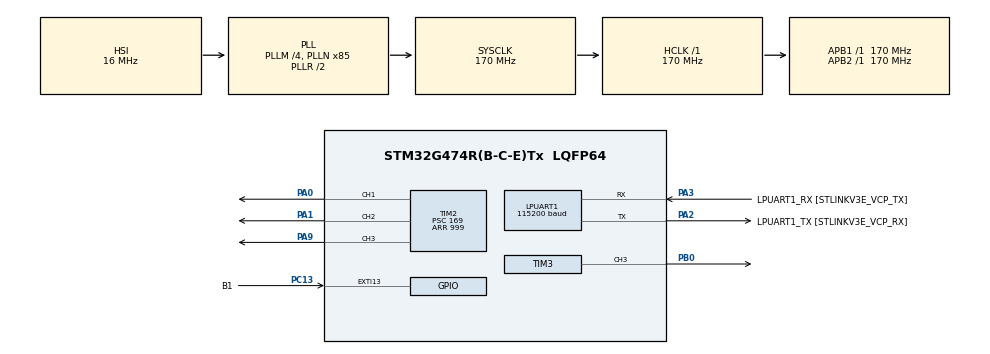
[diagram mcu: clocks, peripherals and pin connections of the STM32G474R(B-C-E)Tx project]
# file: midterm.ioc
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LPUART1.BaudRate=115200
Mcu.Family=STM32G4
Mcu.Name=STM32G474R(B-C-E)Tx
Mcu.Package=LQFP64
NVIC.EXTI15_10_IRQn=true\:1\:0\:true\:false\:true\:true\:true\:true
NVIC.LPUART1_IRQn=true\:0\:0\:false\:false\:true\:true\:true\:true
NVIC.PriorityGroup=NVIC_PRIORITYGROUP_4
PA0.Signal=S_TIM2_CH1
PA1.Signal=S_TIM2_CH2
PA13.GPIO_Label=T_SWDIO
PA13.Signal=SYS_JTMS-SWDIO
PA14.GPIO_Label=T_SWCLK
PA14.Signal=SYS_JTCK-SWCLK
PA2.GPIO_Label=LPUART1_TX [STLINKV3E_VCP_RX]
PA2.Mode=Asynchronous
PA2.Signal=LPUART1_TX
PA3.GPIO_Label=LPUART1_RX [STLINKV3E_VCP_TX]
PA3.Mode=Asynchronous
PA3.Signal=LPUART1_RX
PA9.Signal=S_TIM2_CH3
PB0.Signal=S_TIM3_CH3
PB3.GPIO_Label=T_SWO
PB3.Signal=SYS_JTDO-SWO
PC13.GPIO_Label=B1
PC13.Signal=GPXTI13
PC14-OSC32_IN.GPIO_Label=RCC_OSC32_IN
PC14-OSC32_IN.Signal=RCC_OSC32_IN
PC15-OSC32_OUT.GPIO_Label=RCC_OSC32_OUT
PC15-OSC32_OUT.Signal=RCC_OSC32_OUT
PF0-OSC_IN.GPIO_Label=RCC_OSC_IN
PF0-OSC_IN.Mode=HSE-External-Oscillator
PF0-OSC_IN.Signal=RCC_OSC_IN
PF1-OSC_OUT.GPIO_Label=RCC_OSC_OUT
PF1-OSC_OUT.Mode=HSE-External-Oscillator
PF1-OSC_OUT.Signal=RCC_OSC_OUT
ProjectManager.HeapSize=0x200
ProjectManager.StackSize=0x400
ProjectManager.TargetToolchain=STM32CubeIDE
RCC.ADC12Freq_Value=170000000
RCC.ADC345Freq_Value=170000000
RCC.AHBFreq_Value=170000000
RCC.APB1Freq_Value=170000000
RCC.APB1TimFreq_Value=170000000
RCC.APB2Freq_Value=170000000
RCC.APB2TimFreq_Value=170000000
RCC.CortexFreq_Value=170000000
RCC.EXTERNAL_CLOCK_VALUE=12288000
RCC.HCLKFreq_Value=170000000
RCC.HSE_VALUE=24000000
RCC.HSI48_VALUE=48000000
RCC.HSI_VALUE=16000000
RCC.LSE_VALUE=32768
RCC.PLLM=RCC_PLLM_DIV4
RCC.PLLN=85
RCC.RTCClockSelection=RCC_RTCCLKSOURCE_LSE
RCC.SYSCLKFreq_VALUE=170000000
RCC.SYSCLKSource=RCC_SYSCLKSOURCE_PLLCLK
RCC.USBFreq_Value=170000000
RCC.VCOOutputFreq_Value=340000000
SH.S_TIM2_CH1.0=TIM2_CH1,PWM Generation1 CH1
SH.S_TIM2_CH2.0=TIM2_CH2,PWM Generation2 CH2
SH.S_TIM2_CH3.0=TIM2_CH3,PWM Generation3 CH3
SH.S_TIM3_CH3.0=TIM3_CH3,PWM Generation3 CH3
TIM2.Channel-PWM\ Generation1\ CH1=TIM_CHANNEL_1
TIM2.Channel-PWM\ Generation2\ CH2=TIM_CHANNEL_2
TIM2.Channel-PWM\ Generation3\ CH3=TIM_CHANNEL_3
TIM2.PeriodNoDither=999
TIM2.Prescaler=169
TIM3.Channel-PWM\ Generation3\ CH3=TIM_CHANNEL_3
TIM3.PeriodNoDither=1136
TIM3.Prescaler=169
VP_SYS_VS_DBSignals.Mode=DisableDeadBatterySignals
board=NUCLEO-G474RE

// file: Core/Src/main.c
/* USER CODE BEGIN Header */
/**
  ******************************************************************************
  * @file           : main.c
  * @brief          : NUCLEO-G474RE 雙模式互動燈光與節拍系統
  *                   Mode 0: 節拍教練 (Rhythm Coach)
  *                   Mode 1: Python 音訊派對燈 (Audio-Reactive LED)
  * Copyright (c) 2026 STMicroelectronics.
  * All rights reserved.
  ******************************************************************************
  */
/* USER CODE END Header */

#include "main.h"                                  /* 包含 CubeMX 生成的主標頭檔 */

/* USER CODE BEGIN Includes */
#include <stdio.h>                                 /* 包含標準輸入輸出庫，用於 sprintf 格式化字串 */
#include <stdlib.h>                                /* 包含標準工具庫，用於 atoi 字串轉整數 */
#include <string.h>                                /* 包含字串處理庫，用於 strcmp, strncmp, strlen */
/* USER CODE END Includes */

UART_HandleTypeDef hlpuart1;                      /* LPUART1 串口控制代碼 */

TIM_HandleTypeDef htim2;                          /* TIM2 定時器控制代碼 (三色 LED PWM) */
TIM_HandleTypeDef htim3;                          /* TIM3 定時器控制代碼 (無源蜂鳴器 PWM) */

/* USER CODE BEGIN PV */
/* ================= 系統模式與參數變數 ================= */
uint8_t current_mode = 0;                         /* 當前系統模式：0 = 節拍器模式, 1 = Python 音訊派對燈 */
uint32_t current_bpm = 120;                       /* Mode 0 預設節拍速度 (BPM) */
uint8_t is_muted = 0;                             /* 蜂鳴器靜音狀態開關：0 = 正常發聲, 1 = 靜音 */

/* ================= PC13 按鈕長按檢測變數 ================= */
uint32_t button_press_start = 0;                  /* 紀錄按鈕按下的起始時間戳記 (ms) */
uint8_t button_is_pressed = 0;                    /* 按鈕狀態旗標：0 = 未按下, 1 = 按下計時中, 2 = 已觸發切換 */

/* ================= Mode 0 節拍與時間控制變數 ================= */
uint32_t last_beat_tick = 0;                      /* 上一次觸發節拍的時間點 (ms) */
uint32_t red_led_fade_start = 0;                  /* LED 漸暗效果的起始時間點 (ms) */

/* ================= LPUART1 通訊與指令解析變數 ================= */
uint8_t uart_rx_byte;                             /* UART 單一位元組中斷接收暫存器 */
char uart_rx_buffer[32];                          /* 接收指令的字串緩衝區 */
uint8_t uart_rx_index = 0;                        /* 字串緩衝區寫入索引指標 */
uint16_t py_audio_val = 0;                        /* Mode 1 解析來自 Python 的音量強弱數值 (0 ~ 999) */
/* USER CODE END PV */

void SystemClock_Config(void);                    /* 系統時脈設定函式原型 */
static void MX_GPIO_Init(void);                   /* GPIO 初始化函式原型 */
static void MX_LPUART1_UART_Init(void);            /* LPUART1 通訊初始化函式原型 */
static void MX_TIM2_Init(void);                   /* TIM2 PWM 初始化函式原型 */
static void MX_TIM3_Init(void);                   /* TIM3 PWM 初始化函式原型 */
/* USER CODE BEGIN PFP */
void Process_Button_Check(uint32_t current_tick);  /* PC13 長按 3 秒非阻塞檢測函式 */
/* USER CODE END PFP */

/* USER CODE BEGIN 0 */

/**
  * @brief  LPUART1 接收中斷回調函數：非阻塞式接收電腦端傳入指令
  * @param  huart: UART 控制代碼指標
  * @retval None
  */
void HAL_UART_RxCpltCallback(UART_HandleTypeDef *huart) {
    if (huart->Instance == LPUART1) {             /* 確認觸發中斷的是 LPUART1 */
        /* 若接收到換行符號 ('\n') 或回車符號 ('\r')，代表一串指令結束 */
        if (uart_rx_byte == '\n' || uart_rx_byte == '\r') {
            uart_rx_buffer[uart_rx_index] = '\0';  /* 為接收到的字串加上結束符號 */
            if (uart_rx_index > 0) {
                /* 指令 1：查詢當前系統狀態 "st" */
                if (strcmp(uart_rx_buffer, "st") == 0) {
                    char msg[64];
                    int len = sprintf(msg, "Mode:%d, BPM:%lu, Mute:%d\r\n", current_mode, current_bpm, is_muted);
                    HAL_UART_Transmit_IT(&hlpuart1, (uint8_t*)msg, len); /* 非阻塞傳送狀態 */
                }
                /* 指令 2：切換靜音狀態 "mute" */
                else if (strcmp(uart_rx_buffer, "mute") == 0) {
                    is_muted = !is_muted;         /* 切換靜音旗標 */
                    char *msg = is_muted ? "Buzzer Muted\r\n" : "Buzzer Unmuted\r\n";
                    HAL_UART_Transmit_IT(&hlpuart1, (uint8_t*)msg, strlen(msg));
                }
                /* 指令 3：動態調整 BPM 節拍速度 (例如 "bpm 140") */
                else if (strncmp(uart_rx_buffer, "bpm ", 4) == 0) {
                    uint32_t new_bpm = atoi(&uart_rx_buffer[4]); /* 解析 bpm 後方數字 */
                    if (new_bpm >= 30 && new_bpm <= 300) {      /* 限制合法 BPM 範圍 */
                        current_bpm = new_bpm;    /* 更新當前 BPM */
                        char msg[32];
                        int len = sprintf(msg, "BPM updated to %lu\r\n", current_bpm);
                        HAL_UART_Transmit_IT(&hlpuart1, (uint8_t*)msg, len);
                    }
                }
                /* 指令 4：Mode 1 下解析 Python 傳送之音量數值 (0 ~ 999) */
                else if (current_mode == 1) {
                    int val = atoi(uart_rx_buffer);
                    if (val >= 0 && val <= 999) {
                        py_audio_val = (uint16_t)val;            /* 更新音量動態數值 */
                    }
                }
            }
            uart_rx_index = 0;                    /* 重置緩衝區寫入索引，準備下一條指令 */
        } else {
            /* 累積接收字元至緩衝區，防範邊界溢位 */
            if (uart_rx_index < sizeof(uart_rx_buffer) - 1) {
                uart_rx_buffer[uart_rx_index++] = uart_rx_byte;
            }
        }
        /* 重新啟用 UART 接收中斷，持續進行非阻塞監聽 */
        HAL_UART_Receive_IT(&hlpuart1, &uart_rx_byte, 1);
    }
}

/**
  * @brief  PC13 藍色按鈕長按 3 秒判定函式 (非阻塞時間差檢測)
  * @param  current_tick: 當前系統滴答時間 (ms)
  * @retval None
  */
void Process_Button_Check(uint32_t current_tick) {
    /* NUCLEO-G474RE 板載 B1 按鈕預設為下拉 (Pull-down)，按下時輸出高準位 (HIGH) */
    GPIO_PinState pin_state = HAL_GPIO_ReadPin(GPIOC, GPIO_PIN_13);

    if (pin_state == GPIO_PIN_SET) {               /* 檢測到按鈕處於按下狀態 */
        if (button_is_pressed == 0) {
            button_press_start = current_tick;     /* 紀錄剛按下時的時間點 */
            button_is_pressed = 1;                 /* 標記按鈕開始進入按下狀態 */
        } else if (button_is_pressed == 1) {
            /* 若持續按下時間達到或超過 3000 毫秒 (3秒) */
            if (current_tick - button_press_start >= 3000) {
                current_mode = !current_mode;      /* 切換系統模式 (Mode 0 ↔ Mode 1) */

                /* 模式切換時強制關閉蜂鳴器 PWM 輸出，確保零雜音 */
                __HAL_TIM_SET_COMPARE(&htim3, TIM_CHANNEL_3, 0);

                /* 發送模式切換成功通知至電腦 */
                char msg[40];
                int len = sprintf(msg, "\r\n[Switch Mode] Current Mode: %d\r\n", current_mode);
                HAL_UART_Transmit(&hlpuart1, (uint8_t*)msg, len,100);

                button_is_pressed = 2;             /* 設為 2，防止持續長按時重複觸發切換 */
            }
        }
    } else {
        button_is_pressed = 0;                     /* 按鈕放開，重置長按判定旗標 */
    }
}

/* USER CODE END 0 */

/**
  * @brief  主程式進入點 (The application entry point)
  * @retval int
  */
int main(void)
{

  /* MCU Configuration--------------------------------------------------------*/

  /* 重置所有週邊，初始化 Flash 介面與 SysTick 滴答定時器 */
  HAL_Init();

  /* 設定系統時脈 (高頻 170MHz 運作) */
  SystemClock_Config();

  /* 初始化所有已配置的硬體週邊 */
  MX_GPIO_Init();
  MX_LPUART1_UART_Init();
  MX_TIM2_Init();
  MX_TIM3_Init();

  /* USER CODE BEGIN 2 */
  /* 啟動 TIM2 三通道 PWM 輸出 (PA0:紅燈, PA1:黃燈, PA9:綠燈) */
  HAL_TIM_PWM_Start(&htim2, TIM_CHANNEL_1);       /* 啟動 CH1 PWM */
  HAL_TIM_PWM_Start(&htim2, TIM_CHANNEL_2);       /* 啟動 CH2 PWM */
  HAL_TIM_PWM_Start(&htim2, TIM_CHANNEL_3);       /* 啟動 CH3 PWM */

  /* 啟動 TIM3 單通道 PWM 輸出 (PB0:無源蜂鳴器) */
  HAL_TIM_PWM_Start(&htim3, TIM_CHANNEL_3);       /* 啟動 TIM3_CH3 PWM */
  __HAL_TIM_SET_COMPARE(&htim3, TIM_CHANNEL_3, 0);/* 初始設置蜂鳴器為靜音 (CCR=0) */

  /* 啟動 LPUART1 接收中斷，開始非阻塞接收第一個位元組 */
  HAL_UART_Receive_IT(&hlpuart1, &uart_rx_byte, 1);

  /* 發送開機系統初始化完成訊息 */
  char *start_msg = "System Initialized. Dual-Mode Ready.\r\n";
  HAL_UART_Transmit_IT(&hlpuart1, (uint8_t*)start_msg, strlen(start_msg));
  /* USER CODE END 2 */

  /* 無限主迴圈 (Infinite loop) */
  /* USER CODE BEGIN WHILE */
  while (1)
  {
      uint32_t current_tick = HAL_GetTick();      /* 獲取當前系統滴答時間 (毫秒) */

      /* 執行 PC13 按鈕長按 3 秒非阻塞切換檢測 */
      Process_Button_Check(current_tick);

      if (current_mode == 0) {
          /* ========================================================
           * 模式 0：節拍教練 (Rhythm Coach)
           * ======================================================== */
          uint32_t beat_interval = 60000 / current_bpm; /* 計算每拍間隔毫秒數 (60000ms / BPM) */

          /* 判斷是否到達下一個節拍點 */
          if (current_tick - last_beat_tick >= beat_interval) {
              last_beat_tick = current_tick;       /* 更新上一次節拍點時間戳記 */
              red_led_fade_start = current_tick;   /* 記錄 LED 指數漸暗起始時間點 */

              /* 若系統未開啟靜音，開啟 TIM3_CH3 50% 占空比發聲 (ARR=1136, CCR=568) */
              if (!is_muted) {
                  __HAL_TIM_SET_COMPARE(&htim3, TIM_CHANNEL_3, 568);
              }

              /* 節拍觸發瞬間，三色 LED 亮度瞬間達到最高 peak (999) */
              __HAL_TIM_SET_COMPARE(&htim2, TIM_CHANNEL_1, 999); /* 紅燈全亮 */
              __HAL_TIM_SET_COMPARE(&htim2, TIM_CHANNEL_2, 999); /* 黃燈全亮 */
              __HAL_TIM_SET_COMPARE(&htim2, TIM_CHANNEL_3, 999); /* 綠燈全亮 */
          }

          /* 蜂鳴器防護：每拍開始滿 50ms 後自動關閉發聲，實現短促清脆嗶聲 */
          if (!is_muted && (current_tick - last_beat_tick >= 50)) {
              __HAL_TIM_SET_COMPARE(&htim3, TIM_CHANNEL_3, 0);     /* 關閉蜂鳴器 */
          }

          /* LED 依當前節拍時間差進行指數/線性漸暗 (Fade-out 視覺殘影) */
          uint32_t elapsed_since_beat = current_tick - red_led_fade_start;
          if (elapsed_since_beat < beat_interval) {
              /* 依時間經過比例，將亮度從 999 遞減至 0 */
              int32_t brightness = 999 - (int32_t)((elapsed_since_beat * 999) / beat_interval);
              if (brightness < 0) brightness = 0;  /* 防止臨界數值計算溢位變負數 */

              __HAL_TIM_SET_COMPARE(&htim2, TIM_CHANNEL_1, (uint32_t)brightness); /* 更新紅燈 */
              __HAL_TIM_SET_COMPARE(&htim2, TIM_CHANNEL_2, (uint32_t)brightness); /* 更新黃燈 */
              __HAL_TIM_SET_COMPARE(&htim2, TIM_CHANNEL_3, (uint32_t)brightness); /* 更新綠燈 */
          }

      } else {
          /* ========================================================
           * 模式 1：Python 音訊派對燈 (Audio-Reactive LED)
           * ======================================================== */
          /* Mode 1 下強制保持蜂鳴器靜音 */
          __HAL_TIM_SET_COMPARE(&htim3, TIM_CHANNEL_3, 0);

          /* 紅色 LED (CH1)：正向隨音量大小變化 (音量越大越亮，做打擾警告燈) */
          __HAL_TIM_SET_COMPARE(&htim2, TIM_CHANNEL_1, py_audio_val);

          /* 黃色 LED (CH2)：保持 OFF (熄滅)，聚焦於紅白與綠視覺對比 */
          __HAL_TIM_SET_COMPARE(&htim2, TIM_CHANNEL_2, 0);

          /* 綠色 LED (CH3)：反態漸變 (無聲最亮 999，音量越大越暗 0) */
          uint16_t green_val = 999 - py_audio_val;
          __HAL_TIM_SET_COMPARE(&htim2, TIM_CHANNEL_3, green_val);
      }

      /* 微小非阻塞式延遲，避免過度鎖死 CPU 主頻，同時保持極高響應度 */
      HAL_Delay(1);

    /* USER CODE END WHILE */

  }
}

/**
  * @brief 系統時脈配置函式 (System Clock Configuration)
  * @retval None
  */
void SystemClock_Config(void)
{
  RCC_OscInitTypeDef RCC_OscInitStruct = {0};
  RCC_ClkInitTypeDef RCC_ClkInitStruct = {0};

  /** 配置主內部電壓調節器輸出電壓 (Scale 1 Boost mode)
  */
  HAL_PWREx_ControlVoltageScaling(PWR_REGULATOR_VOLTAGE_SCALE1_BOOST);

  /** 初始化 RCC 振盪器 (採用 HSI 內部 16MHz 經過 PLL 倍頻至 170MHz)
  */
  RCC_OscInitStruct.OscillatorType = RCC_OSCILLATORTYPE_HSI;
  RCC_OscInitStruct.HSIState = RCC_HSI_ON;
  RCC_OscInitStruct.HSICalibrationValue = RCC_HSICALIBRATION_DEFAULT;
  RCC_OscInitStruct.PLL.PLLState = RCC_PLL_ON;
  RCC_OscInitStruct.PLL.PLLSource = RCC_PLLSOURCE_HSI;
  RCC_OscInitStruct.PLL.PLLM = RCC_PLLM_DIV4;
  RCC_OscInitStruct.PLL.PLLN = 85;
  RCC_OscInitStruct.PLL.PLLP = RCC_PLLP_DIV2;
  RCC_OscInitStruct.PLL.PLLQ = RCC_PLLQ_DIV2;
  RCC_OscInitStruct.PLL.PLLR = RCC_PLLR_DIV2;
  if (HAL_RCC_OscConfig(&RCC_OscInitStruct) != HAL_OK)
  {
    Error_Handler();
  }

  /** 初始化 CPU, AHB 與 APB 匯流排時脈
  */
  RCC_ClkInitStruct.ClockType = RCC_CLOCKTYPE_HCLK|RCC_CLOCKTYPE_SYSCLK
                              |RCC_CLOCKTYPE_PCLK1|RCC_CLOCKTYPE_PCLK2;
  RCC_ClkInitStruct.SYSCLKSource = RCC_SYSCLKSOURCE_PLLCLK;
  RCC_ClkInitStruct.AHBCLKDivider = RCC_SYSCLK_DIV1;
  RCC_ClkInitStruct.APB1CLKDivider = RCC_HCLK_DIV1;
  RCC_ClkInitStruct.APB2CLKDivider = RCC_HCLK_DIV1;

  if (HAL_RCC_ClockConfig(&RCC_ClkInitStruct, FLASH_LATENCY_4) != HAL_OK)
  {
    Error_Handler();
  }
}

/**
  * @brief LPUART1 初始化函式
  * @retval None
  */
static void MX_LPUART1_UART_Init(void)
{

  hlpuart1.Instance = LPUART1;
  hlpuart1.Init.BaudRate = 115200;                 /* 通訊鮑率：115200 bps */
  hlpuart1.Init.WordLength = UART_WORDLENGTH_8B;    /* 資料長度：8 Bits */
  hlpuart1.Init.StopBits = UART_STOPBITS_1;        /* 停止位元：1 Bit */
  hlpuart1.Init.Parity = UART_PARITY_NONE;          /* 校驗位元：無 */
  hlpuart1.Init.Mode = UART_MODE_TX_RX;            /* 啟用全雙工 TX 與 RX */
  hlpuart1.Init.HwFlowCtl = UART_HWCONTROL_NONE;    /* 無硬體流控制 */
  hlpuart1.Init.OneBitSampling = UART_ONE_BIT_SAMPLE_DISABLE;
  hlpuart1.Init.ClockPrescaler = UART_PRESCALER_DIV1;
  hlpuart1.AdvancedInit.AdvFeatureInit = UART_ADVFEATURE_NO_INIT;
  if (HAL_UART_Init(&hlpuart1) != HAL_OK)
  {
    Error_Handler();
  }
  if (HAL_UARTEx_SetTxFifoThreshold(&hlpuart1, UART_TXFIFO_THRESHOLD_1_8) != HAL_OK)
  {
    Error_Handler();
  }
  if (HAL_UARTEx_SetRxFifoThreshold(&hlpuart1, UART_RXFIFO_THRESHOLD_1_8) != HAL_OK)
  {
    Error_Handler();
  }
  if (HAL_UARTEx_DisableFifoMode(&hlpuart1) != HAL_OK)
  {
    Error_Handler();
  }

}

/**
  * @brief TIM2 初始化函式 (LED PWM 控制)
  * @retval None
  */
static void MX_TIM2_Init(void)
{

  TIM_MasterConfigTypeDef sMasterConfig = {0};
  TIM_OC_InitTypeDef sConfigOC = {0};

  htim2.Instance = TIM2;
  htim2.Init.Prescaler = 169;                       /* Prescaler=169, 170MHz/(169+1)=1MHz 計數頻率 */
  htim2.Init.CounterMode = TIM_COUNTERMODE_UP;      /* 上升計數模式 */
  htim2.Init.Period = 999;                          /* ARR=999, PWM 頻率 1kHz (1000 階解析度) */
  htim2.Init.ClockDivision = TIM_CLOCKDIVISION_DIV1;
  htim2.Init.AutoReloadPreload = TIM_AUTORELOAD_PRELOAD_DISABLE;
  if (HAL_TIM_PWM_Init(&htim2) != HAL_OK)
  {
    Error_Handler();
  }
  sMasterConfig.MasterOutputTrigger = TIM_TRGO_RESET;
  sMasterConfig.MasterSlaveMode = TIM_MASTERSLAVEMODE_DISABLE;
  if (HAL_TIMEx_MasterConfigSynchronization(&htim2, &sMasterConfig) != HAL_OK)
  {
    Error_Handler();
  }
  sConfigOC.OCMode = TIM_OCMODE_PWM1;
  sConfigOC.Pulse = 0;                              /* 初始 CCR 占空比 = 0 */
  sConfigOC.OCPolarity = TIM_OCPOLARITY_HIGH;
  sConfigOC.OCFastMode = TIM_OCFAST_DISABLE;
  if (HAL_TIM_PWM_ConfigChannel(&htim2, &sConfigOC, TIM_CHANNEL_1) != HAL_OK)
  {
    Error_Handler();
  }
  if (HAL_TIM_PWM_ConfigChannel(&htim2, &sConfigOC, TIM_CHANNEL_2) != HAL_OK)
  {
    Error_Handler();
  }
  if (HAL_TIM_PWM_ConfigChannel(&htim2, &sConfigOC, TIM_CHANNEL_3) != HAL_OK)
  {
    Error_Handler();
  }
  HAL_TIM_MspPostInit(&htim2);

}

/**
  * @brief TIM3 初始化函式 (無源蜂鳴器 PWM 控制)
  * @retval None
  */
static void MX_TIM3_Init(void)
{

  TIM_MasterConfigTypeDef sMasterConfig = {0};
  TIM_OC_InitTypeDef sConfigOC = {0};

  htim3.Instance = TIM3;
  htim3.Init.Prescaler = 169;                       /* Prescaler=169, 170MHz/(169+1)=1MHz 計數頻率 */
  htim3.Init.CounterMode = TIM_COUNTERMODE_UP;      /* 上升計數模式 */
  htim3.Init.Period = 1136;                         /* ARR=1136, 1MHz / 1137 ≈ 880Hz (A5 音高) */
  htim3.Init.ClockDivision = TIM_CLOCKDIVISION_DIV1;
  htim3.Init.AutoReloadPreload = TIM_AUTORELOAD_PRELOAD_DISABLE;
  if (HAL_TIM_PWM_Init(&htim3) != HAL_OK)
  {
    Error_Handler();
  }
  sMasterConfig.MasterOutputTrigger = TIM_TRGO_RESET;
  sMasterConfig.MasterSlaveMode = TIM_MASTERSLAVEMODE_DISABLE;
  if (HAL_TIMEx_MasterConfigSynchronization(&htim3, &sMasterConfig) != HAL_OK)
  {
    Error_Handler();
  }
  sConfigOC.OCMode = TIM_OCMODE_PWM1;
  sConfigOC.Pulse = 0;                              /* 初始 CCR3 占空比 = 0 (靜音) */
  sConfigOC.OCPolarity = TIM_OCPOLARITY_HIGH;
  sConfigOC.OCFastMode = TIM_OCFAST_DISABLE;
  if (HAL_TIM_PWM_ConfigChannel(&htim3, &sConfigOC, TIM_CHANNEL_3) != HAL_OK)
  {
    Error_Handler();
  }
  HAL_TIM_MspPostInit(&htim3);

}

/**
  * @brief GPIO 初始化函式
  * @retval None
  */
static void MX_GPIO_Init(void)
{
  GPIO_InitTypeDef GPIO_InitStruct = {0};

  /* 開啟 GPIO 埠時脈 (GPIOC, GPIOF, GPIOA, GPIOB) */
  __HAL_RCC_GPIOC_CLK_ENABLE();
  __HAL_RCC_GPIOF_CLK_ENABLE();
  __HAL_RCC_GPIOA_CLK_ENABLE();
  __HAL_RCC_GPIOB_CLK_ENABLE();

  /* 配置 PC13 (板載 B1 藍色按鈕) 為 GPIO 輸入模式 (Pull-down 下拉) */
  GPIO_InitStruct.Pin = B1_Pin;
  GPIO_InitStruct.Mode = GPIO_MODE_INPUT;           /* 一般 GPIO 輸入 */
  GPIO_InitStruct.Pull = GPIO_PULLDOWN;             /* 下拉電阻 (按鈕按下輸出高準位 HIGH) */
  HAL_GPIO_Init(B1_GPIO_Port, &GPIO_InitStruct);

}

/**
  * @brief  錯誤處理函式 (Error Handler)
  * @retval None
  */
void Error_Handler(void)
{
  /* USER CODE BEGIN Error_Handler_Debug */
  /* 當系統發生 HAL 庫嚴重錯誤時，關閉中斷並卡死在此無窮迴圈中 */
  __disable_irq();
  while (1)
  {
  }
  /* USER CODE END Error_Handler_Debug */
}
